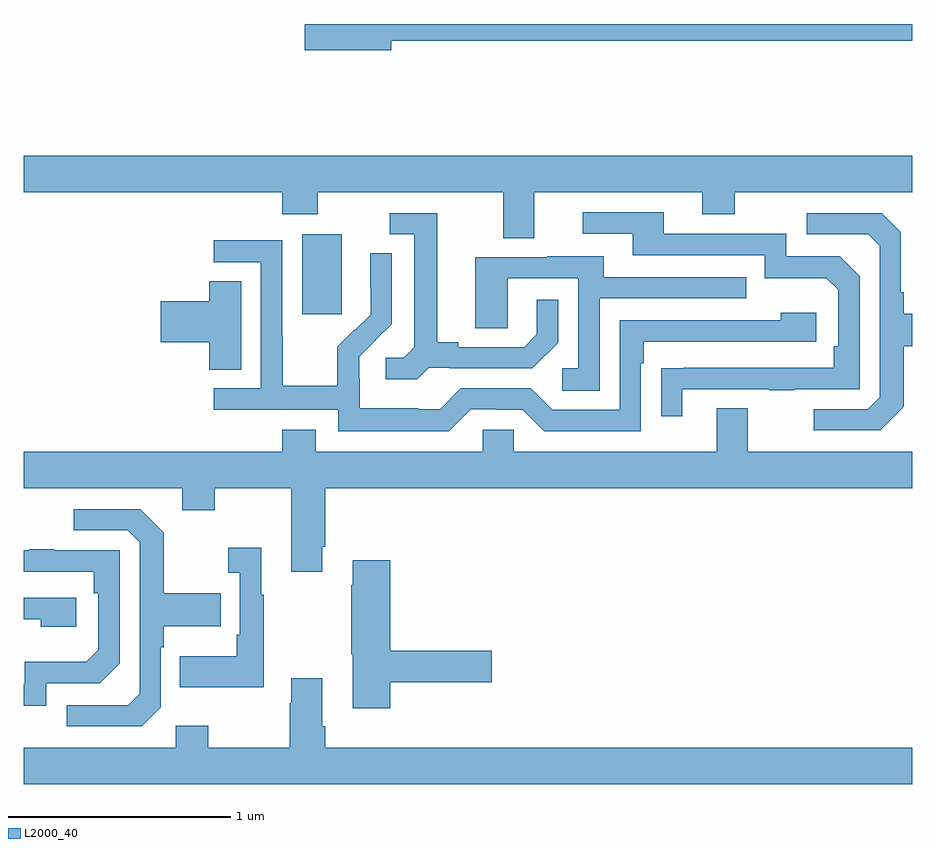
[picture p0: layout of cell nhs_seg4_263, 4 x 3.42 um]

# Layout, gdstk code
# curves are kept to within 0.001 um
import gdstk
lib = gdstk.Library(unit=1e-6, precision=1e-09)
def R(c, l, rs):  # rectangles x0, y0, x1, y1
    for r in rs: c.add(gdstk.rectangle(r[:2], r[2:], *l))
def P(c, l, *ps):  # polygons
    for p in ps: c.add(gdstk.Polygon(p, *l))
L2000_40 = (2000, 40)

nhs_seg4_263 = lib.new_cell('nhs_seg4_263')
R(nhs_seg4_263, L2000_40, [(124.253,805.593,124.432,805.954)])
P(nhs_seg4_263, L2000_40, [(124.654,806.824),(127,806.824),(127,806.9),(124.266,806.9),(124.266,806.782),(124.654,806.782)],
  [(125.299,806.144),(126.053,806.144),(126.053,806.045),(126.201,806.045),(126.201,806.144),(127,806.144),(127,806.308),(123,806.308),(123,806.144),(124.163,806.144),(124.163,806.045),(124.323,806.045),(124.323,806.144),(125.159,806.144),(125.159,805.936),(125.299,805.936)],
  [(125.965,805.257),(126.355,805.257),(126.355,805.252),(126.467,805.252),(126.467,805.257),(126.762,805.257),(126.762,805.764),(126.672,805.854),(126.432,805.854),(126.432,805.956),(125.881,805.956),(125.881,806.052),(125.517,806.052),(125.517,805.956),(125.741,805.956),(125.741,805.86),(126.336,805.86),(126.336,805.757),(126.613,805.757),(126.666,805.704),(126.666,805.45),(126.646,805.45),(126.646,805.353),(125.869,805.352),(125.869,805.134),(125.965,805.134)],
  [(124.824,805.353),(124.918,805.353),(124.918,805.35),(125.29,805.35),(125.406,805.466),(125.406,805.66),(125.309,805.66),(125.309,805.503),(125.252,805.446),(124.957,805.446),(124.957,805.469),(124.861,805.469),(124.861,806.049),(124.647,806.049),(124.647,805.953),(124.757,805.953),(124.757,805.445),(124.71,805.398),(124.629,805.398),(124.629,805.301),(124.772,805.301)],
  [(126.961,805.177),(126.961,805.45),(127,805.45),(127,805.597),(126.961,805.597),(126.961,805.693),(126.948,805.693),(126.948,805.962),(126.861,806.049),(126.525,806.049),(126.525,805.953),(126.801,805.953),(126.852,805.902),(126.852,805.221),(126.798,805.167),(126.555,805.167),(126.555,805.071),(126.855,805.071)],
  [(125.013,805.167),(125.129,805.167),(125.129,805.164),(125.247,805.164),(125.343,805.068),(125.778,805.068),(125.778,805.373),(125.791,805.373),(125.791,805.47),(126.568,805.47),(126.568,805.6),(126.407,805.6),(126.407,805.566),(125.682,805.566),(125.682,805.164),(125.379,805.164),(125.283,805.26),(124.968,805.26),(124.875,805.167),(124.775,805.167),(124.775,805.171),(124.512,805.171),(124.512,805.305),(124.51,805.305),(124.51,805.402),(124.656,805.55),(124.656,805.868),(124.56,805.868),(124.56,805.714),(124.562,805.714),(124.562,805.592),(124.491,805.521),(124.488,805.524),(124.411,805.447),(124.411,805.273),(124.167,805.273),(124.167,805.496),(124.164,805.496),(124.164,805.926),(123.855,805.926),(123.855,805.827),(124.068,805.827),(124.068,805.26),(123.855,805.26),(123.855,805.164),(124.416,805.164),(124.416,805.067),(124.913,805.067)],
  [(125.592,805.665),(126.251,805.665),(126.251,805.761),(125.611,805.761),(125.611,805.855),(125.357,805.855),(125.357,805.851),(125.033,805.851),(125.033,805.531),(125.178,805.531),(125.178,805.755),(125.496,805.755),(125.496,805.35),(125.424,805.35),(125.424,805.249),(125.592,805.249)],
  [(123.979,805.742),(123.836,805.742),(123.836,805.652),(123.618,805.652),(123.618,805.469),(123.836,805.469),(123.836,805.345),(123.979,805.345)],
  [(124.345,804.547),(124.358,804.547),(124.358,804.812),(127,804.812),(127,804.976),(126.259,804.976),(126.259,805.171),(126.119,805.171),(126.119,804.976),(125.205,804.976),(125.205,805.074),(125.067,805.074),(125.067,804.976),(124.315,804.976),(124.315,805.075),(124.163,805.075),(124.163,804.976),(123,804.976),(123,804.812),(123.713,804.812),(123.713,804.713),(123.861,804.713),(123.861,804.812),(124.205,804.812),(124.205,804.435),(124.345,804.435)],
  [(123.618,803.826),(123.618,804.095),(123.631,804.095),(123.631,804.191),(123.887,804.191),(123.887,804.339),(123.631,804.339),(123.631,804.611),(123.525,804.717),(123.225,804.717),(123.225,804.621),(123.468,804.621),(123.522,804.567),(123.522,803.886),(123.471,803.835),(123.195,803.835),(123.195,803.739),(123.531,803.739)],
  [(124.081,804.331),(124.069,804.331),(124.069,804.544),(123.921,804.544),(123.921,804.431),(123.972,804.431),(123.972,804.151),(123.96,804.151),(123.96,804.055),(123.703,804.055),(123.703,803.915),(124.081,803.915)],
  [(123.102,803.934),(123.342,803.934),(123.432,804.024),(123.432,804.531),(123.137,804.531),(123.137,804.536),(123.025,804.536),(123.025,804.531),(123,804.531),(123,804.435),(123.316,804.435),(123.316,804.338),(123.336,804.338),(123.336,804.084),(123.283,804.031),(123.006,804.031),(123.006,803.928),(123,803.928),(123,803.832),(123.102,803.832)],
  [(124.649,803.938),(125.107,803.938),(125.107,804.08),(124.649,804.08),(124.649,804.487),(124.481,804.487),(124.481,804.374),(124.474,804.374),(124.474,804.063),(124.481,804.063),(124.481,803.82),(124.649,803.82)],
  [(123.238,804.318),(123,804.318),(123,804.222),(123.077,804.222),(123.077,804.188),(123.238,804.188)],
  [(127,803.644),(124.358,803.644),(124.358,803.74),(124.345,803.74),(124.345,803.956),(124.205,803.956),(124.205,803.843),(124.198,803.843),(124.198,803.644),(123.831,803.644),(123.831,803.743),(123.684,803.743),(123.684,803.644),(123,803.644),(123,803.48),(127,803.48)])

lib.write_gds('nhs_seg4_263.gds')
